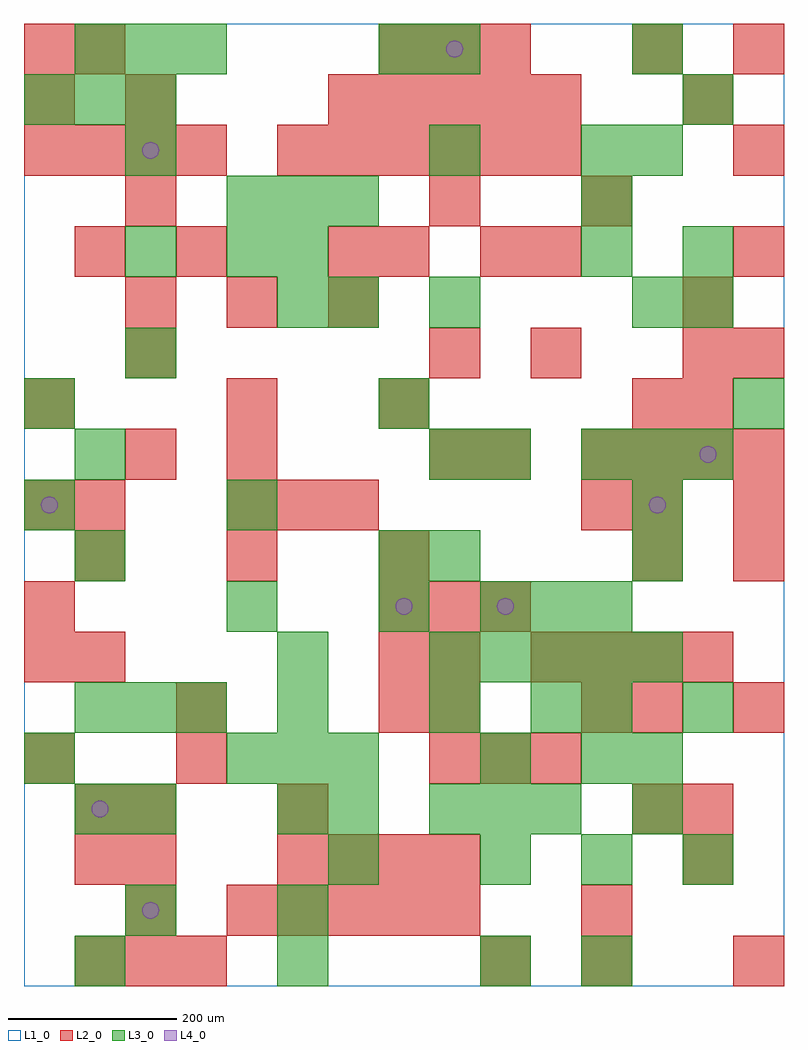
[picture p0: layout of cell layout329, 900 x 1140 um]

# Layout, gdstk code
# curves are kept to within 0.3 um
import gdstk
lib = gdstk.Library(unit=1e-6, precision=1e-09)
def R(c, l, rs):  # rectangles x0, y0, x1, y1
    for r in rs: c.add(gdstk.rectangle(r[:2], r[2:], *l))
def A(c, l, x, y, w, h, nx, ny, dx, dy):  # array of equal rectangles
    R(c, l, [(x+i*dx, y+j*dy, x+i*dx+w, y+j*dy+h) for i in range(nx) for j in range(ny)])
def P(c, l, *ps):  # polygons
    for p in ps: c.add(gdstk.Polygon(p, *l))
L1_0 = (1, 0)
L2_0 = (2, 0)
L3_0 = (3, 0)
L4_0 = (4, 0)

layout329 = lib.new_cell('layout329')
R(layout329, L1_0, [(0,0,900,1140)])
A(layout329, L2_0, 60, 0, 60, 60, 3, 1, 60, 0)
A(layout329, L2_0, 120, 60, 60, 60, 1, 3, 0, 60)
A(layout329, L2_0, 240, 60, 60, 60, 5, 1, 60, 0)
A(layout329, L2_0, 660, 60, 60, 60, 1, 3, 0, 240)
A(layout329, L2_0, 300, 120, 60, 60, 4, 1, 60, 0)
A(layout329, L2_0, 60, 180, 60, 60, 1, 3, 0, 180)
A(layout329, L2_0, 480, 240, 60, 60, 3, 1, 60, 0)
A(layout329, L2_0, 600, 360, 60, 60, 4, 1, 60, 0)
A(layout329, L2_0, 0, 420, 60, 60, 1, 3, 0, 120)
A(layout329, L2_0, 420, 420, 60, 60, 3, 2, 60, 660)
A(layout329, L2_0, 60, 480, 60, 60, 3, 1, 180, 0)
A(layout329, L2_0, 240, 540, 60, 60, 3, 1, 60, 0)
A(layout329, L2_0, 660, 600, 60, 60, 4, 1, 60, 0)
A(layout329, L2_0, 780, 660, 60, 60, 1, 3, 0, 60)
A(layout329, L2_0, 840, 720, 60, 60, 1, 4, 0, 120)
A(layout329, L2_0, 120, 780, 60, 60, 3, 1, 120, 0)
A(layout329, L2_0, 0, 960, 60, 60, 4, 1, 60, 0)
A(layout329, L2_0, 300, 960, 60, 60, 6, 1, 60, 0)
A(layout329, L2_0, 360, 1020, 60, 60, 5, 1, 60, 0)
R(layout329, L2_0, [(540,0,600,60), (660,0,720,60), (840,0,900,60), (60,120,120,180), (780,120,840,180), (300,180,360,240), (720,180,780,240), (780,180,840,240), (0,240,60,300), (180,240,240,300), (180,300,240,360), (420,300,480,360), (480,300,540,360), (720,300,780,360), (840,300,900,360), (0,360,60,420), (420,360,480,420), (480,360,540,420), (720,480,780,540), (840,480,900,540), (720,540,780,600), (840,540,900,600), (120,600,180,660), (240,600,300,660), (480,600,540,660), (540,600,600,660), (240,660,300,720), (420,660,480,720), (720,660,780,720), (120,720,180,780), (480,720,540,780), (600,720,660,780), (60,840,120,900), (180,840,240,900), (360,840,420,900), (420,840,480,900), (540,840,600,900), (600,840,660,900), (120,900,180,960), (480,900,540,960), (660,900,720,960), (0,1020,60,1080), (120,1020,180,1080), (780,1020,840,1080), (0,1080,60,1140), (60,1080,120,1140), (720,1080,780,1140)])
A(layout329, L3_0, 60, 0, 60, 60, 3, 1, 240, 0)
A(layout329, L3_0, 300, 60, 60, 60, 1, 3, 0, 120)
A(layout329, L3_0, 540, 120, 60, 60, 3, 1, 120, 0)
A(layout329, L3_0, 480, 180, 60, 60, 3, 1, 60, 0)
A(layout329, L3_0, 240, 240, 60, 60, 3, 2, 60, 660)
A(layout329, L3_0, 60, 300, 60, 60, 3, 2, 60, 780)
A(layout329, L3_0, 480, 360, 60, 60, 5, 1, 60, 0)
A(layout329, L3_0, 540, 420, 60, 60, 3, 1, 60, 0)
A(layout329, L3_0, 480, 600, 60, 60, 1, 3, 0, 180)
A(layout329, L3_0, 660, 600, 60, 60, 3, 1, 60, 0)
A(layout329, L3_0, 0, 660, 60, 60, 3, 1, 420, 0)
A(layout329, L3_0, 120, 720, 60, 60, 1, 3, 0, 120)
A(layout329, L3_0, 660, 840, 60, 60, 1, 3, 0, 60)
A(layout329, L3_0, 0, 1020, 60, 60, 3, 1, 60, 0)
R(layout329, L3_0, [(660,0,720,60), (120,60,180,120), (360,120,420,180), (60,180,120,240), (120,180,180,240), (360,180,420,240), (720,180,780,240), (0,240,60,300), (540,240,600,300), (660,240,720,300), (720,240,780,300), (480,300,540,360), (600,300,660,360), (660,300,720,360), (780,300,840,360), (300,360,360,420), (240,420,300,480), (420,420,480,480), (60,480,120,540), (420,480,480,540), (480,480,540,540), (720,480,780,540), (0,540,60,600), (240,540,300,600), (720,540,780,600), (60,600,120,660), (540,600,600,660), (300,780,360,840), (360,780,420,840), (720,780,780,840), (780,780,840,840), (240,840,300,900), (300,840,360,900), (780,840,840,900), (720,960,780,1020), (780,1020,840,1080), (420,1080,480,1140), (480,1080,540,1140), (720,1080,780,1140)])
P(layout329, L4_0, [(40,570),(39.239,573.827),(37.071,577.071),(33.827,579.239),(30,580),(26.173,579.239),(22.929,577.071),(20.761,573.827),(20,570),(20.761,566.173),(22.929,562.929),(26.173,560.761),(30,560),(33.827,560.761),(37.071,562.929),(39.239,566.173)],
  [(100,210),(99.239,213.827),(97.071,217.071),(93.827,219.239),(90,220),(86.173,219.239),(82.929,217.071),(80.761,213.827),(80,210),(80.761,206.173),(82.929,202.929),(86.173,200.761),(90,200),(93.827,200.761),(97.071,202.929),(99.239,206.173)],
  [(160,90),(159.239,93.827),(157.071,97.071),(153.827,99.239),(150,100),(146.173,99.239),(142.929,97.071),(140.761,93.827),(140,90),(140.761,86.173),(142.929,82.929),(146.173,80.761),(150,80),(153.827,80.761),(157.071,82.929),(159.239,86.173)],
  [(160,990),(159.239,993.827),(157.071,997.071),(153.827,999.239),(150,1000),(146.173,999.239),(142.929,997.071),(140.761,993.827),(140,990),(140.761,986.173),(142.929,982.929),(146.173,980.761),(150,980),(153.827,980.761),(157.071,982.929),(159.239,986.173)],
  [(460,450),(459.239,453.827),(457.071,457.071),(453.827,459.239),(450,460),(446.173,459.239),(442.929,457.071),(440.761,453.827),(440,450),(440.761,446.173),(442.929,442.929),(446.173,440.761),(450,440),(453.827,440.761),(457.071,442.929),(459.239,446.173)],
  [(520,1110),(519.239,1113.827),(517.071,1117.071),(513.827,1119.239),(510,1120),(506.173,1119.239),(502.929,1117.071),(500.761,1113.827),(500,1110),(500.761,1106.173),(502.929,1102.929),(506.173,1100.761),(510,1100),(513.827,1100.761),(517.071,1102.929),(519.239,1106.173)],
  [(580,450),(579.239,453.827),(577.071,457.071),(573.827,459.239),(570,460),(566.173,459.239),(562.929,457.071),(560.761,453.827),(560,450),(560.761,446.173),(562.929,442.929),(566.173,440.761),(570,440),(573.827,440.761),(577.071,442.929),(579.239,446.173)],
  [(760,570),(759.239,573.827),(757.071,577.071),(753.827,579.239),(750,580),(746.173,579.239),(742.929,577.071),(740.761,573.827),(740,570),(740.761,566.173),(742.929,562.929),(746.173,560.761),(750,560),(753.827,560.761),(757.071,562.929),(759.239,566.173)],
  [(820,630),(819.239,633.827),(817.071,637.071),(813.827,639.239),(810,640),(806.173,639.239),(802.929,637.071),(800.761,633.827),(800,630),(800.761,626.173),(802.929,622.929),(806.173,620.761),(810,620),(813.827,620.761),(817.071,622.929),(819.239,626.173)])

lib.write_gds('layout329.gds')
